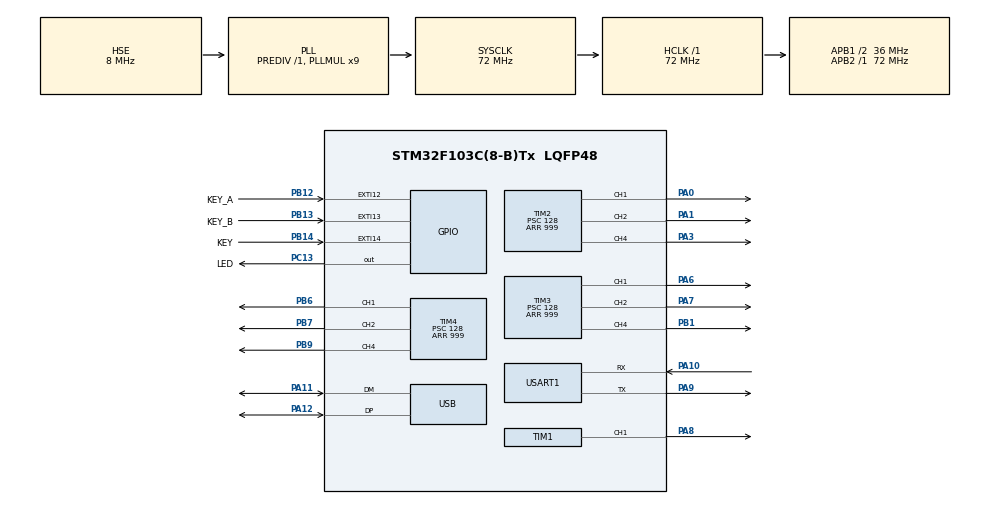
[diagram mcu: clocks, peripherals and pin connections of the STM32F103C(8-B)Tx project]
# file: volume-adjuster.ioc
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FREERTOS.BinarySemaphores01=KeyBinarySem,Dynamic,NULL
FREERTOS.Queues01=KeyQueue,1,uint16_t,0,Dynamic,NULL,NULL
FREERTOS.Tasks01=LEDTask,8,128,LED_Task,Default,NULL,Dynamic,NULL,NULL;KeyTask,10,128,Key_Task,Default,NULL,Dynamic,NULL,NULL;WaterlampTask,9,128,Waterlamp_Task,Default,NULL,Dynamic,NULL,NULL
FREERTOS.configTOTAL_HEAP_SIZE=10240
Mcu.Family=STM32F1
Mcu.Name=STM32F103C(8-B)Tx
Mcu.Package=LQFP48
NVIC.EXTI15_10_IRQn=true\:5\:0\:false\:false\:true\:true\:true\:true\:true
NVIC.PriorityGroup=NVIC_PRIORITYGROUP_4
NVIC.USB_LP_CAN1_RX0_IRQn=true\:5\:0\:false\:false\:true\:true\:false\:true\:true
PA0-WKUP.Signal=S_TIM2_CH1_ETR
PA1.Signal=S_TIM2_CH2
PA10.Mode=Asynchronous
PA10.Signal=USART1_RX
PA11.Mode=Device
PA11.Signal=USB_DM
PA12.Mode=Device
PA12.Signal=USB_DP
PA3.Signal=S_TIM2_CH4
PA6.Signal=S_TIM3_CH1
PA7.Signal=S_TIM3_CH2
PA8.Signal=S_TIM1_CH1
PA9.Mode=Asynchronous
PA9.Signal=USART1_TX
PB1.Signal=S_TIM3_CH4
PB12.GPIO_Label=KEY_A
PB12.Signal=GPXTI12
PB13.GPIO_Label=KEY_B
PB13.Signal=GPXTI13
PB14.GPIO_Label=KEY
PB14.Signal=GPXTI14
PB6.Signal=S_TIM4_CH1
PB7.Signal=S_TIM4_CH2
PB9.Signal=S_TIM4_CH4
PC13-TAMPER-RTC.GPIO_Label=LED
PC13-TAMPER-RTC.Signal=GPIO_Output
PD0-OSC_IN.Mode=HSE-External-Oscillator
PD0-OSC_IN.Signal=RCC_OSC_IN
PD1-OSC_OUT.Mode=HSE-External-Oscillator
PD1-OSC_OUT.Signal=RCC_OSC_OUT
ProjectManager.HeapSize=0x200
ProjectManager.StackSize=0x400
ProjectManager.TargetToolchain=MDK-ARM V5
RCC.AHBFreq_Value=72000000
RCC.APB1CLKDivider=RCC_HCLK_DIV2
RCC.APB1Freq_Value=36000000
RCC.APB1TimFreq_Value=72000000
RCC.APB2Freq_Value=72000000
RCC.APB2TimFreq_Value=72000000
RCC.EnbaleCSS=true
RCC.HCLKFreq_Value=72000000
RCC.PLLMUL=RCC_PLL_MUL9
RCC.PLLSourceVirtual=RCC_PLLSOURCE_HSE
RCC.SYSCLKFreq_VALUE=72000000
RCC.SYSCLKSource=RCC_SYSCLKSOURCE_PLLCLK
RCC.USBFreq_Value=48000000
RCC.USBPrescaler=RCC_USBCLKSOURCE_PLL_DIV1_5
SH.S_TIM1_CH1.0=TIM1_CH1,PWM Generation1 CH1
SH.S_TIM2_CH1_ETR.0=TIM2_CH1,PWM Generation1 CH1
SH.S_TIM2_CH2.0=TIM2_CH2,PWM Generation2 CH2
SH.S_TIM2_CH4.0=TIM2_CH4,PWM Generation4 CH4
SH.S_TIM3_CH1.0=TIM3_CH1,PWM Generation1 CH1
SH.S_TIM3_CH2.0=TIM3_CH2,PWM Generation2 CH2
SH.S_TIM3_CH4.0=TIM3_CH4,PWM Generation4 CH4
SH.S_TIM4_CH1.0=TIM4_CH1,PWM Generation1 CH1
SH.S_TIM4_CH2.0=TIM4_CH2,PWM Generation2 CH2
SH.S_TIM4_CH4.0=TIM4_CH4,PWM Generation4 CH4
TIM1.Channel-Output\ Compare1\ CH1=TIM_CHANNEL_1
TIM1.Channel-PWM\ Generation1\ CH1=TIM_CHANNEL_1
TIM1.Period=999
TIM1.Prescaler=128
TIM2.Channel-PWM\ Generation1\ CH1=TIM_CHANNEL_1
TIM2.Channel-PWM\ Generation2\ CH2=TIM_CHANNEL_2
TIM2.Channel-PWM\ Generation4\ CH4=TIM_CHANNEL_4
TIM2.Period=999
TIM2.Prescaler=128
TIM3.Channel-PWM\ Generation1\ CH1=TIM_CHANNEL_1
TIM3.Channel-PWM\ Generation2\ CH2=TIM_CHANNEL_2
TIM3.Channel-PWM\ Generation4\ CH4=TIM_CHANNEL_4
TIM3.Period=999
TIM3.Prescaler=128
TIM4.Channel-PWM\ Generation1\ CH1=TIM_CHANNEL_1
TIM4.Channel-PWM\ Generation2\ CH2=TIM_CHANNEL_2
TIM4.Channel-PWM\ Generation4\ CH4=TIM_CHANNEL_4
TIM4.Period=999
TIM4.Prescaler=128
USART1.VirtualMode=VM_ASYNC
USB_DEVICE.CLASS_NAME_FS=HID
USB_DEVICE.VirtualMode=Hid
USB_DEVICE.VirtualModeFS=Hid_FS
VP_FREERTOS_VS_CMSIS_V2.Mode=CMSIS_V2
VP_SYS_VS_ND.Mode=No_Debug
VP_USB_DEVICE_VS_USB_DEVICE_HID_FS.Mode=HID_FS
board=custom

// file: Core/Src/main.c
/* USER CODE BEGIN Header */
/**
  ******************************************************************************
  * @file           : main.c
  * @brief          : Main program body
  ******************************************************************************
  * @attention
  *
  * Copyright (c) 2023 STMicroelectronics.
  * All rights reserved.
  *
  * This software is licensed under terms that can be found in the LICENSE file
  * in the root directory of this software component.
  * If no LICENSE file comes with this software, it is provided AS-IS.
  *
  ******************************************************************************
  */
/* USER CODE END Header */
#include "main.h"
#include "cmsis_os.h"
#include "tim.h"
#include "usart.h"
#include "usb_device.h"
#include "gpio.h"

void SystemClock_Config(void);
void MX_FREERTOS_Init(void);

int main(void)
{

	/* MCU Configuration--------------------------------------------------------*/

	/* Reset of all peripherals, Initializes the Flash interface and the Systick. */
	HAL_Init();

	/* Configure the system clock */
	SystemClock_Config();

	/* Initialize all configured peripherals */
	MX_GPIO_Init();
	MX_TIM2_Init();
	MX_TIM3_Init();
	MX_TIM4_Init();
	MX_TIM1_Init();
	MX_USART1_UART_Init();
	/* USER CODE BEGIN 2 */
	/*使能PWM输出*/
	HAL_TIM_PWM_Start(&htim1,TIM_CHANNEL_1);

	HAL_TIM_PWM_Start(&htim2,TIM_CHANNEL_1);
	HAL_TIM_PWM_Start(&htim2,TIM_CHANNEL_2);
	HAL_TIM_PWM_Start(&htim2,TIM_CHANNEL_4);

	HAL_TIM_PWM_Start(&htim3,TIM_CHANNEL_1);
	HAL_TIM_PWM_Start(&htim3,TIM_CHANNEL_2);
	HAL_TIM_PWM_Start(&htim3,TIM_CHANNEL_4);

	HAL_TIM_PWM_Start(&htim4,TIM_CHANNEL_1);
	HAL_TIM_PWM_Start(&htim4,TIM_CHANNEL_2);
	HAL_TIM_PWM_Start(&htim4,TIM_CHANNEL_4);

	/* USER CODE END 2 */

	/* Init scheduler */
	osKernelInitialize();  /* Call init function for freertos objects (in freertos.c) */
	MX_FREERTOS_Init();

	/* Start scheduler */
	osKernelStart();
	/* We should never get here as control is now taken by the scheduler */
	/* Infinite loop */
	while(1)
	{

	}
}

void SystemClock_Config(void)
{
	RCC_OscInitTypeDef RCC_OscInitStruct = {0};
	RCC_ClkInitTypeDef RCC_ClkInitStruct = {0};
	RCC_PeriphCLKInitTypeDef PeriphClkInit = {0};

	/** Initializes the RCC Oscillators according to the specified parameters
	* in the RCC_OscInitTypeDef structure.
	*/
	RCC_OscInitStruct.OscillatorType = RCC_OSCILLATORTYPE_HSE;
	RCC_OscInitStruct.HSEState = RCC_HSE_ON;
	RCC_OscInitStruct.HSEPredivValue = RCC_HSE_PREDIV_DIV1;
	RCC_OscInitStruct.HSIState = RCC_HSI_ON;
	RCC_OscInitStruct.PLL.PLLState = RCC_PLL_ON;
	RCC_OscInitStruct.PLL.PLLSource = RCC_PLLSOURCE_HSE;
	RCC_OscInitStruct.PLL.PLLMUL = RCC_PLL_MUL9;
	if(HAL_RCC_OscConfig(&RCC_OscInitStruct) != HAL_OK)
	{
		Error_Handler();
	}

	/** Initializes the CPU, AHB and APB buses clocks
	*/
	RCC_ClkInitStruct.ClockType = RCC_CLOCKTYPE_HCLK|RCC_CLOCKTYPE_SYSCLK
	                              |RCC_CLOCKTYPE_PCLK1|RCC_CLOCKTYPE_PCLK2;
	RCC_ClkInitStruct.SYSCLKSource = RCC_SYSCLKSOURCE_PLLCLK;
	RCC_ClkInitStruct.AHBCLKDivider = RCC_SYSCLK_DIV1;
	RCC_ClkInitStruct.APB1CLKDivider = RCC_HCLK_DIV2;
	RCC_ClkInitStruct.APB2CLKDivider = RCC_HCLK_DIV1;

	if(HAL_RCC_ClockConfig(&RCC_ClkInitStruct, FLASH_LATENCY_2) != HAL_OK)
	{
		Error_Handler();
	}
	PeriphClkInit.PeriphClockSelection = RCC_PERIPHCLK_USB;
	PeriphClkInit.UsbClockSelection = RCC_USBCLKSOURCE_PLL_DIV1_5;
	if(HAL_RCCEx_PeriphCLKConfig(&PeriphClkInit) != HAL_OK)
	{
		Error_Handler();
	}

	/** Enables the Clock Security System
	*/
	HAL_RCC_EnableCSS();
}

void Error_Handler(void)
{
	__disable_irq();
	while(1)
	{
	}
}

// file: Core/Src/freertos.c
/* USER CODE BEGIN Header */
/**
  ******************************************************************************
  * File Name          : freertos.c
  * Description        : Code for freertos applications
  ******************************************************************************
  * @attention
  *
  * Copyright (c) 2023 STMicroelectronics.
  * All rights reserved.
  *
  * This software is licensed under terms that can be found in the LICENSE file
  * in the root directory of this software component.
  * If no LICENSE file comes with this software, it is provided AS-IS.
  *
  ******************************************************************************
  */
/* USER CODE END Header */

#include "FreeRTOS.h"
#include "task.h"
#include "main.h"
#include "cmsis_os.h"

/* USER CODE BEGIN Includes */
#include "usart.h"
#include "led.h"
/* USER CODE END Includes */

/* Definitions for LEDTask */
osThreadId_t LEDTaskHandle;
const osThreadAttr_t LEDTask_attributes = {
  .name = "LEDTask",
  .stack_size = 128 * 4,
  .priority = (osPriority_t) osPriorityLow,
};
/* Definitions for KeyTask */
osThreadId_t KeyTaskHandle;
const osThreadAttr_t KeyTask_attributes = {
  .name = "KeyTask",
  .stack_size = 128 * 4,
  .priority = (osPriority_t) osPriorityLow2,
};
/* Definitions for WaterlampTask */
osThreadId_t WaterlampTaskHandle;
const osThreadAttr_t WaterlampTask_attributes = {
  .name = "WaterlampTask",
  .stack_size = 128 * 4,
  .priority = (osPriority_t) osPriorityLow1,
};
/* Definitions for KeyQueue */
osMessageQueueId_t KeyQueueHandle;
const osMessageQueueAttr_t KeyQueue_attributes = {
  .name = "KeyQueue"
};
/* Definitions for KeyBinarySem */
osSemaphoreId_t KeyBinarySemHandle;
const osSemaphoreAttr_t KeyBinarySem_attributes = {
  .name = "KeyBinarySem"
};

void LED_Task(void *argument);
void Key_Task(void *argument);
void Waterlamp_Task(void *argument);

extern void MX_USB_DEVICE_Init(void);
void MX_FREERTOS_Init(void); /* (MISRA C 2004 rule 8.1) */

void MX_FREERTOS_Init(void) {

  /* Create the semaphores(s) */
  /* creation of KeyBinarySem */
  KeyBinarySemHandle = osSemaphoreNew(1, 1, &KeyBinarySem_attributes);

  /* Create the queue(s) */
  /* creation of KeyQueue */
  KeyQueueHandle = osMessageQueueNew (16, sizeof(uint16_t), &KeyQueue_attributes);

  /* Create the thread(s) */
  /* creation of LEDTask */
  LEDTaskHandle = osThreadNew(LED_Task, NULL, &LEDTask_attributes);

  /* creation of KeyTask */
  KeyTaskHandle = osThreadNew(Key_Task, NULL, &KeyTask_attributes);

  /* creation of WaterlampTask */
  WaterlampTaskHandle = osThreadNew(Waterlamp_Task, NULL, &WaterlampTask_attributes);

}

void LED_Task(void *argument)
{
  /* init code for USB_DEVICE */
  MX_USB_DEVICE_Init();
  /* USER CODE BEGIN LED_Task */
	/* Infinite loop */
	for(;;)
	{
		led_Toggle();
		osDelay(500);
	}
  /* USER CODE END LED_Task */
}

void Key_Task(void *argument)
{
  /* USER CODE BEGIN Key_Task */
	int8_t key = 0;
	/* Infinite loop */
	for(;;)
	{
		if(osMessageQueueGet(KeyQueueHandle, &key, 0, osWaitForever) == osOK)
		{
			printf("%d\n", key);
		}
	}
  /* USER CODE END Key_Task */
}

void Waterlamp_Task(void *argument)
{
  /* USER CODE BEGIN Waterlamp_Task */
	/* Infinite loop */
	for(;;)
	{
		for(uint8_t i = 0; i <= 10 ; i++)
		{
			water_lamp_down();
			osDelay(100);
		}
		for(uint8_t i = 0; i <= 10 ; i++)
		{
			water_lamp_up();
			osDelay(100);
		}
	}
  /* USER CODE END Waterlamp_Task */
}
